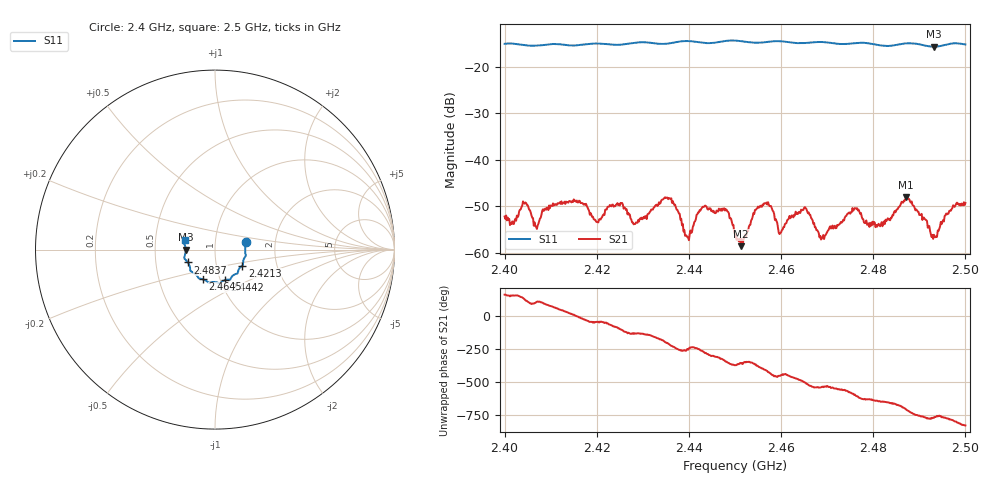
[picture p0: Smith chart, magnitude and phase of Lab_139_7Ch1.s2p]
# Hz S RI R 50
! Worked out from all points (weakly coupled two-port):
!   601 points, 2.4 GHz to 2.5 GHz, reference 50 ohm
!   highest |S21| = -48.06 dB at 2.4872 GHz (marker M1); lowest = -58.6 dB at 2.4513 GHz (marker M2)
!   lowest |S11| = -15.7 dB at 2.4932 GHz (marker M3), VSWR 1.39, Z = 36 - j0.0531 ohm
!   |S11| at or under -10 dB: start of sweep to end of sweep
!   S12 and S22 are empty: the file has one direction only
!   S11 on the Smith chart (normalised r, x): 2.4 GHz: 1.41, +0.12; 2.4213 GHz: 1.33, -0.25; 2.4442 GHz: 1.05, -0.37; 2.4645 GHz: 0.83, -0.29; 2.4837 GHz: 0.73, -0.11; 2.5 GHz: 0.71, +0.07
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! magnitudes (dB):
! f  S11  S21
! 2.4 GHz  -15.1  -52.2
! 2.4068 GHz  -15.5  -54.5
! 2.4167 GHz  -15.3  -49.3
! 2.4213 GHz  -15.1  -51.9
! 2.4333 GHz  -15.1  -49.8
! 2.4362 GHz  -14.9  -48.3
! 2.4397 GHz  -14.5  -56.7
! 2.4442 GHz  -15.0  -50.8
! 2.4482 GHz  -14.5  -50.8
! 2.45 GHz  -14.4  -56.0
! 2.4513 GHz  -14.5  -58.6
! 2.4563 GHz  -14.8  -49.4
! 2.4598 GHz  -14.6  -55.8
! 2.4645 GHz  -15.0  -50.9
! 2.4667 GHz  -14.8  -52.7
! 2.4688 GHz  -14.7  -57.0
! 2.476 GHz  -15.0  -50.4
! 2.4833 GHz  -15.6  -52.9
! 2.4837 GHz  -15.5  -53.0
! 2.4872 GHz  -15.0  -48.1
! 2.4932 GHz  -15.7  -56.1
! 2.5 GHz  -15.2  -49.3
